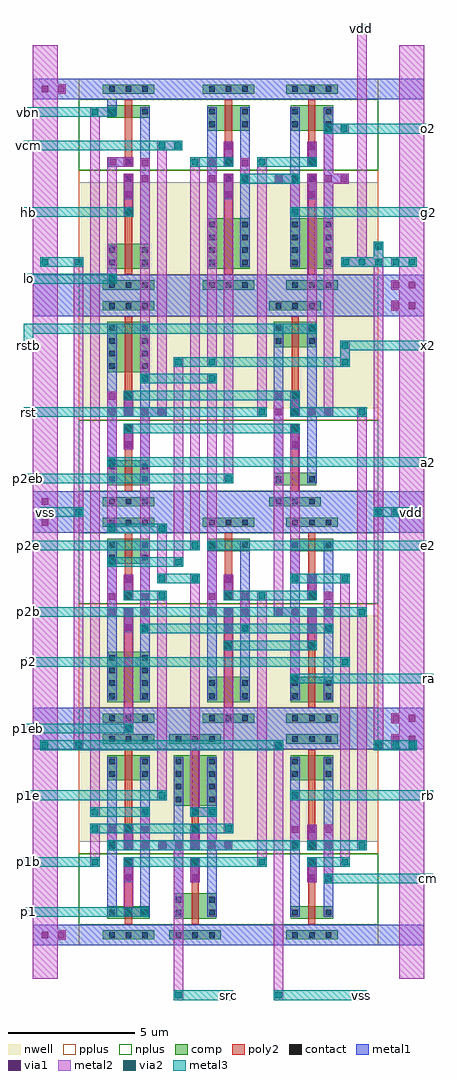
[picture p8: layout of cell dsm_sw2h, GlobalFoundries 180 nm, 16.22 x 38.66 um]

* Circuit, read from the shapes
.subckt dsm_sw2h a2 cm e2 g2 hb lo o2 p1 p1b p1e p1eb p2 p2b p2e p2eb ra rb rst rstb src vbn vcm vdd vss x2
XM1 vbn p1 rb vss nfet_03v3 w=0.5u l=0.28u
XM2 vcm p1e x2 vss nfet_03v3 w=1u l=0.28u
XM3 vcm p2 a2 vss nfet_03v3 w=1u l=0.28u
XM4 e2 lo vss vss nfet_03v3 w=0.5u l=0.28u
XM5 a2 p1 src vss nfet_03v3 w=1u l=0.28u
XM6 vcm p1 e2 vss nfet_03v3 w=0.5u l=0.28u
XM7 g2 p2e x2 vss nfet_03v3 w=1u l=0.28u
XM8 o2 p2 ra vss nfet_03v3 w=0.5u l=0.28u
XM9 cm p2 rb vss nfet_03v3 w=0.5u l=0.28u
XM10 vcm p1 ra vss nfet_03v3 w=0.5u l=0.28u
XM11 o2 rst g2 vss nfet_03v3 w=1u l=0.28u
XM12 vbn p1b rb vdd pfet_03v3 w=1u l=0.28u
XM13 vcm p1eb x2 vdd pfet_03v3 w=2u l=0.28u
XM14 vcm p2b a2 vdd pfet_03v3 w=2u l=0.28u
XM15 e2 hb vdd vdd pfet_03v3 w=1u l=0.28u
XM16 a2 p1b src vdd pfet_03v3 w=2u l=0.28u
XM17 vcm p1b e2 vdd pfet_03v3 w=1u l=0.28u
XM18 g2 p2eb x2 vdd pfet_03v3 w=2u l=0.28u
XM19 o2 p2b ra vdd pfet_03v3 w=1u l=0.28u
XM20 cm p2b rb vdd pfet_03v3 w=1u l=0.28u
XM21 vcm p1b ra vdd pfet_03v3 w=1u l=0.28u
XM22 o2 rstb g2 vdd pfet_03v3 w=2u l=0.28u
.ends

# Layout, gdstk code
import gdstk
lib = gdstk.Library(unit=1e-6, precision=1e-09)
def R(c, l, rs):  # rectangles x0, y0, x1, y1
    for r in rs: c.add(gdstk.rectangle(r[:2], r[2:], *l))
def A(c, l, x, y, w, h, nx, ny, dx, dy):  # array of equal rectangles
    R(c, l, [(x+i*dx, y+j*dy, x+i*dx+w, y+j*dy+h) for i in range(nx) for j in range(ny)])
nwell = (21, 0)
comp = (22, 0)
poly2 = (30, 0)
pplus = (31, 0)
nplus = (32, 0)
contact = (33, 0)
metal1 = (34, 0)
via1 = (35, 0)
metal2 = (36, 0)
via2 = (38, 0)
metal3 = (42, 0)

tqc_drv_0p5_1 = lib.new_cell('tqc_drv_0p5_1')
R(tqc_drv_0p5_1, nwell, [(0,4.1,2.64,8.58)])
R(tqc_drv_0p5_1, comp, [(0.3,0.23,2.34,0.59), (0.48,1.05,2.16,1.55), (0.48,6.53,2.16,7.53), (0.3,7.99,2.34,8.35)])
R(tqc_drv_0p5_1, poly2, [(1.18,0.83,1.46,3.48), (1.14,3.12,1.5,3.48), (1.14,3.78,1.5,4.14), (1.18,3.78,1.46,7.75)])
R(tqc_drv_0p5_1, pplus, [(0,0,2.64,0.82), (0,3.63,2.64,7.76)])
R(tqc_drv_0p5_1, nplus, [(0,0.82,2.64,3.63), (0,7.76,2.64,8.58)])
A(tqc_drv_0p5_1, contact, 0.55, 0.3, 0.22, 0.22, 3, 2, 0.66, 7.76)
R(tqc_drv_0p5_1, contact, [(0.55,1.19,0.77,1.41), (1.87,1.19,2.09,1.41), (1.21,3.19,1.43,3.41), (1.21,3.85,1.43,4.07), (0.55,6.67,0.77,6.89), (1.87,6.67,2.09,6.89), (0.55,7.17,0.77,7.39), (1.87,7.17,2.09,7.39)])
R(tqc_drv_0p5_1, metal1, [(0,0,2.64,0.82), (0.47,0,0.85,1.47), (1.79,1.13,2.17,1.47), (1.79,1.37,2.17,4.15), (1.13,3.11,1.51,3.49), (1.13,3.77,1.51,4.15), (1.79,3.77,2.17,6.71), (0.47,6.61,0.85,8.58), (1.79,6.61,2.17,7.45), (0,7.76,2.64,8.58)])

tqc_fill_2 = lib.new_cell('tqc_fill_2')
R(tqc_fill_2, nwell, [(0,4.1,1.32,8.58)])
R(tqc_fill_2, pplus, [(0,0,1.32,0.82), (0,3.63,1.32,7.76)])
R(tqc_fill_2, nplus, [(0,0.82,1.32,3.63), (0,7.76,1.32,8.58)])

tqc_fill_1 = lib.new_cell('tqc_fill_1')
R(tqc_fill_1, nwell, [(0,4.1,0.66,8.58)])
R(tqc_fill_1, pplus, [(0,0,0.66,0.82), (0,3.63,0.66,7.76)])
R(tqc_fill_1, nplus, [(0,0.82,0.66,3.63), (0,7.76,0.66,8.58)])

tqc_fill_6 = lib.new_cell('tqc_fill_6')
R(tqc_fill_6, nwell, [(0,4.1,3.96,8.58)])
R(tqc_fill_6, pplus, [(0,0,3.96,0.82), (0,3.63,3.96,7.76)])
R(tqc_fill_6, nplus, [(0,0.82,3.96,3.63), (0,7.76,3.96,8.58)])

tqc_tg_0p5_1 = lib.new_cell('tqc_tg_0p5_1')
R(tqc_tg_0p5_1, nwell, [(0,4.1,2.64,8.58)])
R(tqc_tg_0p5_1, comp, [(0.3,0.23,2.34,0.59), (0.48,1.05,2.16,1.55), (0.48,6.53,2.16,7.53), (0.3,7.99,2.34,8.35)])
R(tqc_tg_0p5_1, poly2, [(1.18,0.83,1.46,3.48), (1.14,3.12,1.5,3.48), (1.14,3.78,1.5,4.14), (1.18,3.78,1.46,7.75)])
R(tqc_tg_0p5_1, pplus, [(0,0,2.64,0.82), (0,3.63,2.64,7.76)])
R(tqc_tg_0p5_1, nplus, [(0,0.82,2.64,3.63), (0,7.76,2.64,8.58)])
A(tqc_tg_0p5_1, contact, 0.55, 0.3, 0.22, 0.22, 3, 2, 0.66, 7.76)
R(tqc_tg_0p5_1, contact, [(0.55,1.19,0.77,1.41), (1.87,1.19,2.09,1.41), (1.21,3.19,1.43,3.41), (1.21,3.85,1.43,4.07), (0.55,6.67,0.77,6.89), (1.87,6.67,2.09,6.89), (0.55,7.17,0.77,7.39), (1.87,7.17,2.09,7.39)])
R(tqc_tg_0p5_1, metal1, [(0,0,2.64,0.82), (0.47,1.13,0.85,1.47), (1.79,1.13,2.17,1.47), (0.47,1.37,0.85,4.15), (1.79,1.37,2.17,4.15), (1.13,3.11,1.51,3.49), (0.47,3.77,0.85,6.71), (1.13,3.77,1.51,4.15), (1.79,3.77,2.17,6.71), (0.47,6.61,0.85,7.45), (1.79,6.61,2.17,7.45), (0,7.76,2.64,8.58)])

tqc_tg_1_2 = lib.new_cell('tqc_tg_1_2')
R(tqc_tg_1_2, nwell, [(0,4.1,2.64,8.58)])
R(tqc_tg_1_2, comp, [(0.3,0.23,2.34,0.59), (0.48,1.05,2.16,2.05), (0.48,5.53,2.16,7.53), (0.3,7.99,2.34,8.35)])
R(tqc_tg_1_2, poly2, [(1.18,0.83,1.46,3.48), (1.14,3.12,1.5,3.48), (1.14,3.78,1.5,4.14), (1.18,3.78,1.46,7.75)])
R(tqc_tg_1_2, pplus, [(0,0,2.64,0.82), (0,3.63,2.64,7.76)])
R(tqc_tg_1_2, nplus, [(0,0.82,2.64,3.63), (0,7.76,2.64,8.58)])
A(tqc_tg_1_2, contact, 0.55, 0.3, 0.22, 0.22, 3, 2, 0.66, 7.76)
A(tqc_tg_1_2, contact, 0.55, 5.67, 0.22, 0.22, 1, 4, 0, 0.5)
A(tqc_tg_1_2, contact, 1.87, 5.67, 0.22, 0.22, 1, 4, 0, 0.5)
R(tqc_tg_1_2, contact, [(0.55,1.19,0.77,1.41), (1.87,1.19,2.09,1.41), (0.55,1.69,0.77,1.91), (1.87,1.69,2.09,1.91), (1.21,3.19,1.43,3.41), (1.21,3.85,1.43,4.07)])
R(tqc_tg_1_2, metal1, [(0,0,2.64,0.82), (0.47,1.13,0.85,1.97), (1.79,1.13,2.17,1.97), (0.47,1.87,0.85,4.15), (1.79,1.87,2.17,4.15), (1.13,3.11,1.51,3.49), (0.47,3.77,0.85,5.71), (1.13,3.77,1.51,4.15), (1.79,3.77,2.17,5.71), (0.47,5.61,0.85,7.45), (1.79,5.61,2.17,7.45), (0,7.76,2.64,8.58)])

tqc_fill_3 = lib.new_cell('tqc_fill_3')
R(tqc_fill_3, nwell, [(0,4.1,1.98,8.58)])
R(tqc_fill_3, pplus, [(0,0,1.98,0.82), (0,3.63,1.98,7.76)])
R(tqc_fill_3, nplus, [(0,0.82,1.98,3.63), (0,7.76,1.98,8.58)])

dsm_sw2h = lib.new_cell('dsm_sw2h')
A(dsm_sw2h, metal1, 3.11, 5.75, 0.38, 1, 3, 1, 0.66, 0)
A(dsm_sw2h, metal1, 3.11, 5.75, 0.38, 0.38, 3, 2, 0.66, 9.24)
A(dsm_sw2h, metal1, 5.75, 5.75, 0.38, 0.38, 3, 1, 0.66, 0)
A(dsm_sw2h, metal1, 10.37, 5.75, 0.38, 1, 3, 1, 0.66, 0)
A(dsm_sw2h, metal1, 10.37, 5.75, 0.38, 0.38, 3, 2, 0.66, 9.24)
A(dsm_sw2h, metal1, 7.07, 14.99, 0.38, 0.38, 3, 2, 0.66, 17.16)
A(dsm_sw2h, metal1, 3.11, 22.91, 0.38, 0.38, 3, 1, 0.66, 0)
A(dsm_sw2h, metal1, 9.71, 22.91, 0.38, 0.38, 3, 1, 0.66, 0)
A(dsm_sw2h, metal1, 10.37, 32.15, 0.38, 0.38, 3, 1, 0.66, 0)
R(dsm_sw2h, metal1, [(0.16,1.98,15.68,2.8), (0.47,2.2,1.47,2.58), (3.77,4.47,4.15,5.47), (6.41,4.47,6.79,5.47), (11.03,4.47,11.41,5.47), (3.77,5.09,4.15,5.47), (6.41,5.09,6.79,5.47), (11.03,5.09,11.41,5.47), (5.13,5.75,6.13,6.13), (6.41,5.75,6.79,6.75), (7.07,5.75,8.07,6.13), (0.16,9.74,15.68,10.56), (14.37,9.96,15.37,10.34), (0.16,10.56,15.68,11.38), (14.37,10.78,15.37,11.16), (3.77,14.37,4.15,15.37), (7.73,14.37,8.11,15.37), (11.03,14.37,11.41,15.37), (3.11,14.99,3.49,15.99), (4.43,14.99,4.81,15.99), (7.07,14.99,7.45,15.99), (8.39,14.99,8.77,15.99), (9.75,14.99,10.75,15.37), (11.69,14.99,12.07,15.99), (3.77,15.65,4.15,16.65), (3.77,15.65,4.15,16.03), (7.73,15.65,8.11,16.65), (7.73,15.65,8.11,16.03), (11.03,15.65,11.41,16.65), (11.03,15.65,11.41,16.03), (0.16,18.32,15.68,19.14), (0.16,19.14,15.68,19.96), (3.77,21.63,4.15,22.63), (10.37,21.63,10.75,22.63), (3.77,22.25,4.15,22.63), (10.37,22.25,10.75,22.63), (3.11,22.91,3.49,23.91), (3.77,22.91,4.15,23.91), (4.43,22.91,5.43,23.29), (9.71,22.91,10.09,23.91), (10.37,22.91,10.75,23.91), (11.03,22.91,12.03,23.29), (0.16,26.9,15.68,27.72), (14.37,27.12,15.37,27.5), (0.16,27.72,15.68,28.54), (14.37,27.94,15.37,28.32), (3.77,31.53,4.15,32.53), (7.73,31.53,8.11,32.53), (11.03,31.53,11.41,32.53), (3.77,32.15,4.15,32.53), (4.43,32.15,4.81,33.15), (4.43,32.15,4.81,32.53), (7.07,32.15,7.45,33.15), (8.39,32.15,8.77,33.15), (9.75,32.15,10.75,32.53), (11.69,32.15,12.69,32.53), (3.15,32.81,4.15,33.19), (3.77,32.81,4.15,33.19), (7.73,32.81,8.11,33.81), (7.73,32.81,8.11,33.19), (11.03,32.81,11.41,33.81), (11.03,32.81,11.41,33.19), (0.16,35.48,15.68,36.3), (0.47,35.7,1.47,36.08)])
A(dsm_sw2h, via1, 3.17, 5.81, 0.26, 0.26, 3, 2, 0.66, 0.62)
A(dsm_sw2h, via1, 5.81, 5.81, 0.26, 0.26, 3, 1, 0.66, 0)
A(dsm_sw2h, via1, 10.43, 5.81, 0.26, 0.26, 3, 2, 0.66, 0.62)
A(dsm_sw2h, via1, 3.17, 15.05, 0.26, 0.26, 3, 2, 0.66, 7.92)
A(dsm_sw2h, via1, 7.13, 15.05, 0.26, 0.26, 3, 2, 0.66, 17.16)
A(dsm_sw2h, via1, 10.43, 15.05, 0.26, 0.26, 3, 2, 0.66, 17.16)
A(dsm_sw2h, via1, 9.77, 22.97, 0.26, 0.26, 3, 1, 0.66, 0)
R(dsm_sw2h, via1, [(0.53,2.26,0.79,2.52), (1.15,2.26,1.41,2.52), (3.83,4.53,4.09,4.79), (6.47,4.53,6.73,4.79), (11.09,4.53,11.35,4.79), (3.83,5.15,4.09,5.41), (6.47,5.15,6.73,5.41), (11.09,5.15,11.35,5.41), (5.19,5.81,5.45,6.07), (7.75,5.81,8.01,6.07), (6.47,6.43,6.73,6.69), (14.43,10.02,14.69,10.28), (15.05,10.02,15.31,10.28), (14.43,10.84,14.69,11.1), (15.05,10.84,15.31,11.1), (3.83,14.43,4.09,14.69), (7.79,14.43,8.05,14.69), (11.09,14.43,11.35,14.69), (9.81,15.05,10.07,15.31), (3.17,15.67,3.43,15.93), (4.49,15.67,4.75,15.93), (7.13,15.67,7.39,15.93), (8.45,15.67,8.71,15.93), (11.75,15.67,12.01,15.93), (3.83,15.71,4.09,15.97), (7.79,15.71,8.05,15.97), (11.09,15.71,11.35,15.97), (3.83,16.33,4.09,16.59), (7.79,16.33,8.05,16.59), (11.09,16.33,11.35,16.59), (0.53,18.6,0.79,18.86), (0.53,19.42,0.79,19.68), (3.83,21.69,4.09,21.95), (10.43,21.69,10.69,21.95), (3.83,22.31,4.09,22.57), (10.43,22.31,10.69,22.57), (5.11,22.97,5.37,23.23), (11.71,22.97,11.97,23.23), (3.17,23.59,3.43,23.85), (3.83,23.59,4.09,23.85), (9.77,23.59,10.03,23.85), (10.43,23.59,10.69,23.85), (14.43,27.18,14.69,27.44), (15.05,27.18,15.31,27.44), (14.43,28,14.69,28.26), (15.05,28,15.31,28.26), (3.83,31.59,4.09,31.85), (7.79,31.59,8.05,31.85), (11.09,31.59,11.35,31.85), (3.83,32.21,4.09,32.47), (4.49,32.21,4.75,32.47), (9.81,32.21,10.07,32.47), (12.37,32.21,12.63,32.47), (4.49,32.83,4.75,33.09), (7.13,32.83,7.39,33.09), (8.45,32.83,8.71,33.09), (3.21,32.87,3.47,33.13), (3.83,32.87,4.09,33.13), (7.79,32.87,8.05,33.13), (11.09,32.87,11.35,33.13), (7.79,33.49,8.05,33.75), (11.09,33.49,11.35,33.75), (0.53,35.76,0.79,36.02), (1.15,35.76,1.41,36.02)])
A(dsm_sw2h, metal2, 5.75, -0.19, 0.38, 0.38, 1, 10, 0, 0.66)
A(dsm_sw2h, metal2, 5.75, -0.19, 0.38, 1.04, 1, 8, 0, 0.66)
A(dsm_sw2h, metal2, 9.71, -0.19, 0.38, 0.38, 1, 9, 0, 0.66)
A(dsm_sw2h, metal2, 9.71, -0.19, 0.38, 1.04, 1, 9, 0, 0.66)
A(dsm_sw2h, metal2, 3.77, 3.11, 0.38, 0.38, 1, 4, 0, 0.66)
A(dsm_sw2h, metal2, 3.77, 3.11, 0.38, 1.04, 1, 3, 0, 0.66)
A(dsm_sw2h, metal2, 2.45, 5.09, 0.38, 0.38, 1, 3, 0, 0.66)
A(dsm_sw2h, metal2, 2.45, 5.09, 0.38, 1.04, 3, 1, 3.3, 0)
A(dsm_sw2h, metal2, 11.03, 5.09, 0.38, 0.38, 3, 1, 0.66, 0)
A(dsm_sw2h, metal2, 12.35, 5.09, 0.38, 1.04, 1, 7, 0, 0.66)
A(dsm_sw2h, metal2, 3.11, 5.75, 0.38, 1, 3, 1, 0.66, 0)
A(dsm_sw2h, metal2, 9.05, 5.75, 0.38, 0.38, 3, 3, 0.66, 0.66)
A(dsm_sw2h, metal2, 9.05, 5.75, 0.38, 1.04, 3, 2, 0.66, 0.66)
A(dsm_sw2h, metal2, 10.37, 5.75, 0.38, 1, 3, 1, 0.66, 0)
A(dsm_sw2h, metal2, 11.69, 5.75, 0.38, 0.38, 3, 1, 0.66, 0)
A(dsm_sw2h, metal2, 13.01, 5.75, 0.38, 1.04, 1, 6, 0, 0.66)
A(dsm_sw2h, metal2, 6.41, 6.41, 0.38, 0.38, 3, 2, 0.66, 9.24)
A(dsm_sw2h, metal2, 12.35, 6.41, 0.38, 0.38, 1, 5, 0, 0.66)
A(dsm_sw2h, metal2, 13.01, 6.41, 0.38, 0.38, 1, 5, 0, 0.66)
A(dsm_sw2h, metal2, 2.45, 7.07, 0.38, 0.38, 3, 1, 1.98, 0)
A(dsm_sw2h, metal2, 2.45, 7.07, 0.38, 1.04, 1, 5, 0, 0.66)
A(dsm_sw2h, metal2, 6.41, 7.07, 0.38, 1.04, 3, 1, 1.32, 0)
A(dsm_sw2h, metal2, 9.71, 7.07, 0.38, 1.04, 1, 4, 0, 0.66)
A(dsm_sw2h, metal2, 2.45, 7.73, 0.38, 0.38, 1, 4, 0, 0.66)
A(dsm_sw2h, metal2, 5.09, 7.73, 0.38, 0.38, 4, 4, 1.32, 0.66)
A(dsm_sw2h, metal2, 5.09, 7.73, 0.38, 1.04, 4, 4, 1.32, 0.66)
A(dsm_sw2h, metal2, 9.71, 7.73, 0.38, 0.38, 1, 4, 0, 0.66)
A(dsm_sw2h, metal2, 1.79, 9.71, 0.38, 0.38, 1, 8, 0, 0.66)
A(dsm_sw2h, metal2, 1.79, 9.71, 0.38, 1.04, 1, 8, 0, 0.66)
A(dsm_sw2h, metal2, 12.35, 9.71, 0.38, 0.38, 3, 7, 0.66, 0.66)
A(dsm_sw2h, metal2, 12.35, 9.71, 0.38, 1.04, 3, 7, 0.66, 0.66)
A(dsm_sw2h, metal2, 2.45, 10.37, 0.38, 0.38, 6, 3, 1.32, 0.66)
A(dsm_sw2h, metal2, 2.45, 10.37, 0.38, 1.04, 6, 3, 1.32, 0.66)
A(dsm_sw2h, metal2, 14.37, 10.78, 1, 0.38, 1, 3, 0, 8.17)
A(dsm_sw2h, metal2, 2.45, 12.35, 0.38, 0.38, 7, 3, 1.32, 0.66)
A(dsm_sw2h, metal2, 2.45, 12.35, 0.38, 1.04, 7, 3, 1.32, 0.66)
A(dsm_sw2h, metal2, 3.77, 14.33, 0.38, 0.38, 3, 2, 0.66, 1.32)
A(dsm_sw2h, metal2, 3.77, 14.33, 0.38, 1.04, 3, 1, 0.66, 0)
A(dsm_sw2h, metal2, 6.41, 14.33, 0.38, 1.04, 1, 3, 0, 0.66)
A(dsm_sw2h, metal2, 7.73, 14.33, 0.38, 0.38, 3, 1, 0.66, 0)
A(dsm_sw2h, metal2, 7.73, 14.33, 0.38, 1.04, 3, 1, 0.66, 0)
A(dsm_sw2h, metal2, 10.37, 14.33, 0.38, 0.38, 6, 1, 0.66, 0)
A(dsm_sw2h, metal2, 10.37, 14.33, 0.38, 1.04, 6, 1, 0.66, 0)
A(dsm_sw2h, metal2, 1.79, 14.99, 0.38, 0.38, 3, 2, 0.66, 1.32)
A(dsm_sw2h, metal2, 1.79, 14.99, 0.38, 1.04, 3, 3, 0.66, 0.66)
A(dsm_sw2h, metal2, 4.43, 14.99, 0.38, 1.04, 1, 3, 0, 0.66)
A(dsm_sw2h, metal2, 8.39, 14.99, 0.38, 0.38, 4, 1, 0.66, 0)
A(dsm_sw2h, metal2, 11.69, 14.99, 0.38, 0.38, 4, 1, 0.66, 0)
A(dsm_sw2h, metal2, 12.35, 14.99, 0.38, 1.04, 3, 1, 0.66, 0)
A(dsm_sw2h, metal2, 1.79, 15.65, 0.38, 0.38, 4, 2, 0.66, 6.6)
A(dsm_sw2h, metal2, 7.07, 15.65, 0.38, 1.04, 3, 1, 2.64, 0)
A(dsm_sw2h, metal2, 9.71, 15.65, 0.38, 0.38, 1, 12, 0, 0.66)
A(dsm_sw2h, metal2, 12.35, 15.65, 0.38, 0.38, 3, 2, 0.66, 0.66)
A(dsm_sw2h, metal2, 13.01, 15.65, 0.38, 1.04, 1, 11, 0, 0.66)
A(dsm_sw2h, metal2, 13.67, 15.65, 0.38, 1.04, 1, 20, 0, 0.66)
A(dsm_sw2h, metal2, 9.71, 16.31, 0.38, 1.04, 1, 10, 0, 0.66)
A(dsm_sw2h, metal2, 10.37, 16.31, 0.38, 0.38, 1, 10, 0, 0.66)
A(dsm_sw2h, metal2, 10.37, 16.31, 0.38, 1.04, 1, 9, 0, 0.66)
A(dsm_sw2h, metal2, 1.79, 16.97, 0.38, 0.38, 3, 2, 0.66, 1.32)
A(dsm_sw2h, metal2, 4.43, 16.97, 0.38, 0.38, 3, 1, 0.66, 0)
A(dsm_sw2h, metal2, 4.43, 16.97, 0.38, 1.04, 3, 1, 0.66, 0)
A(dsm_sw2h, metal2, 13.01, 16.97, 0.38, 0.38, 1, 10, 0, 0.66)
A(dsm_sw2h, metal2, 13.67, 16.97, 0.38, 0.38, 1, 19, 0, 0.66)
A(dsm_sw2h, metal2, 4.43, 17.63, 0.38, 0.38, 5, 2, 0.66, 0.66)
A(dsm_sw2h, metal2, 4.43, 17.63, 0.38, 1.04, 5, 1, 0.66, 0)
A(dsm_sw2h, metal2, 1.79, 18.29, 0.38, 1.04, 3, 7, 0.66, 0.66)
A(dsm_sw2h, metal2, 4.43, 18.29, 0.38, 1.04, 1, 7, 0, 0.66)
A(dsm_sw2h, metal2, 5.75, 18.29, 0.38, 1.04, 3, 3, 0.66, 0.66)
A(dsm_sw2h, metal2, 1.79, 18.95, 0.38, 0.38, 3, 5, 0.66, 0.66)
A(dsm_sw2h, metal2, 4.43, 18.95, 0.38, 0.38, 1, 7, 0, 0.66)
A(dsm_sw2h, metal2, 5.75, 18.95, 0.38, 0.38, 3, 2, 0.66, 0.66)
A(dsm_sw2h, metal2, 5.75, 20.27, 0.38, 0.38, 4, 4, 0.66, 0.66)
A(dsm_sw2h, metal2, 5.75, 20.27, 0.38, 1.04, 4, 5, 0.66, 0.66)
A(dsm_sw2h, metal2, 1.79, 22.91, 0.38, 0.38, 3, 2, 0.66, 5.28)
A(dsm_sw2h, metal2, 1.79, 22.91, 0.38, 1.04, 1, 8, 0, 0.66)
A(dsm_sw2h, metal2, 2.45, 22.91, 0.38, 1.04, 3, 1, 1.32, 0)
A(dsm_sw2h, metal2, 4.43, 22.91, 0.38, 0.38, 6, 2, 0.66, 1.32)
A(dsm_sw2h, metal2, 9.05, 22.91, 0.38, 1.04, 3, 1, 1.32, 0)
A(dsm_sw2h, metal2, 1.79, 23.57, 0.38, 0.38, 1, 7, 0, 0.66)
A(dsm_sw2h, metal2, 2.45, 23.57, 0.38, 0.38, 3, 1, 1.32, 0)
A(dsm_sw2h, metal2, 2.45, 23.57, 0.38, 1.04, 1, 7, 0, 0.66)
A(dsm_sw2h, metal2, 5.09, 23.57, 0.38, 1.04, 5, 1, 0.66, 0)
A(dsm_sw2h, metal2, 5.75, 23.57, 0.38, 0.38, 4, 1, 0.66, 0)
A(dsm_sw2h, metal2, 9.05, 23.57, 0.38, 0.38, 3, 1, 1.32, 0)
A(dsm_sw2h, metal2, 9.05, 23.57, 0.38, 1.04, 1, 13, 0, 0.66)
A(dsm_sw2h, metal2, 11.69, 23.57, 0.38, 1.04, 1, 11, 0, 0.66)
A(dsm_sw2h, metal2, 2.45, 24.23, 0.38, 0.38, 1, 6, 0, 0.66)
A(dsm_sw2h, metal2, 4.43, 24.23, 0.38, 1.04, 4, 1, 0.66, 0)
A(dsm_sw2h, metal2, 9.05, 24.23, 0.38, 0.38, 1, 14, 0, 0.66)
A(dsm_sw2h, metal2, 11.69, 24.23, 0.38, 0.38, 1, 10, 0, 0.66)
A(dsm_sw2h, metal2, 4.43, 24.89, 0.38, 0.38, 6, 1, 0.66, 0)
A(dsm_sw2h, metal2, 4.43, 24.89, 0.38, 1.04, 1, 9, 0, 0.66)
A(dsm_sw2h, metal2, 5.09, 24.89, 0.38, 1.04, 1, 9, 0, 0.66)
A(dsm_sw2h, metal2, 6.41, 24.89, 0.38, 1.04, 3, 11, 0.66, 0.66)
A(dsm_sw2h, metal2, 4.43, 25.55, 0.38, 0.38, 1, 8, 0, 0.66)
A(dsm_sw2h, metal2, 5.09, 25.55, 0.38, 0.38, 1, 8, 0, 0.66)
A(dsm_sw2h, metal2, 6.41, 25.55, 0.38, 0.38, 3, 10, 0.66, 0.66)
A(dsm_sw2h, metal2, 11.03, 26.21, 0.38, 0.38, 1, 7, 0, 0.66)
A(dsm_sw2h, metal2, 11.03, 26.21, 0.38, 1.04, 1, 7, 0, 0.66)
A(dsm_sw2h, metal2, 1.79, 28.19, 0.38, 1.04, 3, 1, 0.66, 0)
A(dsm_sw2h, metal2, 1.79, 28.85, 0.38, 0.38, 3, 1, 0.66, 0)
A(dsm_sw2h, metal2, 2.45, 28.85, 0.38, 1.04, 1, 3, 0, 0.66)
A(dsm_sw2h, metal2, 3.11, 28.85, 0.38, 1.04, 1, 3, 0, 0.66)
A(dsm_sw2h, metal2, 13.01, 28.85, 0.38, 0.38, 1, 15, 0, 0.66)
A(dsm_sw2h, metal2, 13.01, 28.85, 0.38, 1.04, 1, 14, 0, 0.66)
A(dsm_sw2h, metal2, 2.45, 30.83, 0.38, 0.38, 5, 2, 0.66, 0.66)
A(dsm_sw2h, metal2, 2.45, 30.83, 0.38, 1.04, 5, 2, 0.66, 0.66)
A(dsm_sw2h, metal2, 10.37, 30.83, 0.38, 0.38, 3, 2, 0.66, 0.66)
A(dsm_sw2h, metal2, 10.37, 30.83, 0.38, 1.04, 3, 2, 0.66, 0.66)
A(dsm_sw2h, metal2, 2.45, 32.15, 0.38, 0.38, 3, 2, 0.66, 0.66)
A(dsm_sw2h, metal2, 2.45, 32.15, 0.38, 1.04, 1, 4, 0, 0.66)
A(dsm_sw2h, metal2, 6.41, 32.15, 0.38, 1.04, 3, 1, 2.64, 0)
A(dsm_sw2h, metal2, 11.69, 32.15, 0.38, 0.38, 1, 4, 0, 0.66)
A(dsm_sw2h, metal2, 3.77, 32.81, 0.38, 0.38, 4, 1, 1.32, 0)
A(dsm_sw2h, metal2, 2.45, 33.47, 0.38, 0.38, 1, 3, 0, 0.66)
R(dsm_sw2h, metal2, [(0.16,0.66,1.16,37.62), (14.68,0.66,15.68,37.62), (0.47,2.2,1.47,2.58), (3.77,3.11,4.77,3.49), (11.69,4.43,12.07,4.81), (11.69,4.43,12.07,5.47), (3.77,4.47,4.15,5.47), (6.41,4.47,6.79,5.47), (11.03,4.47,11.41,5.47), (3.77,5.09,4.15,5.47), (6.41,5.09,6.79,5.47), (6.41,5.09,6.79,5.47), (9.05,5.09,9.43,5.47), (11.03,5.09,11.41,5.47), (11.69,5.09,12.07,6.13), (2.45,5.75,2.83,6.79), (3.11,5.75,3.49,6.13), (3.11,5.75,3.49,6.13), (3.77,5.75,4.15,6.13), (3.77,5.75,4.15,6.13), (3.77,5.75,4.15,6.79), (4.43,5.75,4.81,6.13), (4.43,5.75,4.81,6.13), (4.43,5.75,4.81,6.79), (5.13,5.75,6.13,6.13), (5.75,5.75,6.13,6.13), (6.41,5.75,6.79,6.13), (6.41,5.75,6.79,6.13), (6.41,5.75,6.79,6.79), (6.41,5.75,6.79,6.75), (7.07,5.75,8.07,6.13), (7.07,5.75,7.45,6.13), (7.07,5.75,7.45,6.13), (7.07,5.75,7.45,6.79), (10.37,5.75,10.75,6.13), (11.03,5.75,11.41,6.13), (11.03,5.75,11.41,6.13), (11.69,5.75,12.07,6.13), (3.77,6.41,4.15,6.79), (4.43,6.41,4.81,6.79), (4.43,6.41,4.81,7.45), (7.07,6.41,7.45,7.45), (7.73,6.41,8.11,7.45), (6.41,7.07,7.45,7.45), (7.07,7.07,7.45,7.45), (7.73,7.07,8.11,7.45), (10.37,7.07,10.75,8.11), (10.37,7.73,10.75,8.11), (14.37,9.71,15.37,10.09), (14.37,9.96,15.37,10.34), (11.03,13.67,11.41,14.05), (11.03,13.67,11.41,14.71), (2.45,14.33,2.83,14.71), (2.45,14.33,2.83,15.37), (6.41,14.33,6.79,14.71), (3.77,14.37,4.15,15.37), (7.73,14.37,8.11,15.37), (11.03,14.37,11.41,15.37), (3.11,14.99,3.49,15.37), (3.11,14.99,3.49,15.99), (3.77,14.99,4.15,15.37), (3.77,14.99,4.15,15.37), (4.43,14.99,4.81,15.37), (4.43,14.99,4.81,15.37), (4.43,14.99,4.81,15.99), (5.09,14.99,5.47,15.37), (5.09,14.99,5.47,16.03), (6.41,14.99,6.79,15.37), (7.07,14.99,7.45,15.37), (7.07,14.99,7.45,15.37), (7.07,14.99,7.45,16.03), (7.07,14.99,7.45,15.99), (7.73,14.99,8.11,15.37), (7.73,14.99,8.11,15.37), (8.39,14.99,8.77,15.37), (8.39,14.99,8.77,15.99), (9.05,14.99,9.43,16.03), (9.71,14.99,10.75,15.37), (9.71,14.99,10.09,16.03), (9.75,14.99,10.75,15.37), (10.37,14.99,10.75,15.37), (11.03,14.99,11.41,15.37), (11.03,14.99,11.41,15.37), (11.69,14.99,12.07,15.37), (11.69,14.99,12.07,15.99), (3.77,15.65,4.15,16.65), (7.73,15.65,8.11,16.03), (7.73,15.65,8.11,16.65), (9.05,15.65,9.43,16.03), (11.03,15.65,11.41,16.03), (11.03,15.65,11.41,16.03), (11.03,15.65,11.41,16.65), (4.43,16.31,4.81,16.69), (5.09,16.31,5.47,16.69), (5.09,16.31,5.47,17.35), (6.41,16.31,6.79,16.69), (7.07,16.31,7.45,16.69), (7.07,16.31,7.45,17.35), (1.79,16.97,2.17,18.01), (2.45,16.97,2.83,18.01), (7.07,16.97,7.45,17.35), (7.07,16.97,7.45,18.01), (1.79,17.63,2.17,18.01), (1.79,17.63,2.17,18.67), (2.45,17.63,2.83,18.01), (2.45,17.63,2.83,18.67), (3.77,21.63,4.15,22.63), (10.37,21.63,10.75,22.63), (3.77,22.25,4.15,22.63), (10.37,22.25,10.75,22.63), (3.11,22.91,3.49,23.29), (3.11,22.91,3.49,23.91), (3.77,22.91,4.15,23.29), (3.77,22.91,4.15,23.29), (3.77,22.91,4.15,23.91), (4.43,22.91,5.43,23.29), (4.43,22.91,5.47,23.29), (9.05,22.91,9.43,23.29), (9.71,22.91,10.09,23.29), (9.71,22.91,10.09,23.91), (10.37,22.91,10.75,23.29), (10.37,22.91,10.75,23.29), (10.37,22.91,10.75,23.91), (11.03,22.91,12.03,23.29), (11.03,22.91,12.07,23.29), (11.03,22.91,11.41,23.29), (11.03,22.91,11.41,23.29), (11.69,22.91,12.07,23.29), (7.73,24.23,8.11,25.27), (12.35,24.89,12.73,25.27), (12.35,24.89,12.73,25.93), (12.35,25.55,12.73,25.93), (14.37,27.94,15.37,28.32), (12.39,28.85,13.39,29.23), (13.01,28.85,14.05,29.23), (13.67,28.85,14.05,29.85), (14.37,28.85,15.37,29.23), (2.45,29.51,2.83,29.89), (3.11,29.51,3.49,29.89), (2.45,30.17,2.83,30.55), (3.11,30.17,3.49,30.55), (3.77,31.53,4.15,32.53), (7.73,31.53,8.11,32.53), (11.03,31.53,11.41,32.53), (3.11,32.15,3.49,33.19), (3.77,32.15,4.15,32.53), (4.43,32.15,4.81,32.53), (4.43,32.15,4.81,32.53), (4.43,32.15,4.81,33.15), (5.09,32.15,5.47,32.53), (5.09,32.15,5.47,33.19), (6.41,32.15,6.79,32.53), (7.07,32.15,7.45,32.53), (7.07,32.15,7.45,32.53), (7.07,32.15,7.45,33.15), (7.73,32.15,8.11,32.53), (7.73,32.15,8.11,32.53), (8.39,32.15,8.77,32.53), (8.39,32.15,8.77,32.53), (8.39,32.15,8.77,33.15), (9.75,32.15,10.75,32.53), (10.37,32.15,10.75,32.53), (10.37,32.15,10.75,32.53), (11.03,32.15,11.41,32.53), (11.03,32.15,11.41,32.53), (11.69,32.15,12.69,32.53), (11.69,32.15,12.07,32.53), (3.11,32.81,4.15,33.19), (3.15,32.81,4.15,33.19), (5.09,32.81,5.47,33.85), (7.73,32.81,8.11,33.19), (7.73,32.81,8.11,33.81), (11.03,32.81,11.41,33.19), (11.03,32.81,11.41,33.19), (11.03,32.81,11.41,33.81), (11.69,32.81,12.07,33.85), (5.09,33.47,6.09,33.85), (5.09,33.47,5.47,33.85), (11.69,33.47,12.07,34.51), (11.69,34.13,12.69,34.51), (2.45,34.79,3.45,35.17), (0.47,35.7,1.47,36.08)])
A(dsm_sw2h, via2, 3.83, 5.15, 0.26, 0.26, 3, 1, 2.64, 0)
A(dsm_sw2h, via2, 2.51, 7.13, 0.26, 0.26, 3, 1, 1.98, 0)
A(dsm_sw2h, via2, 10.43, 22.31, 0.26, 0.26, 1, 3, 0, 0.66)
A(dsm_sw2h, via2, 6.47, 32.87, 0.26, 0.26, 3, 1, 1.32, 0)
R(dsm_sw2h, via2, [(5.81,-0.13,6.07,0.13), (9.77,-0.13,10.03,0.13), (3.83,3.17,4.09,3.43), (4.45,3.17,4.71,3.43), (11.75,4.49,12.01,4.75), (2.51,5.15,2.77,5.41), (11.09,5.15,11.35,5.41), (12.41,5.15,12.67,5.41), (3.17,5.81,3.43,6.07), (10.43,5.81,10.69,6.07), (11.09,5.81,11.35,6.07), (13.07,5.81,13.33,6.07), (2.51,6.47,2.77,6.73), (3.83,6.47,4.09,6.73), (6.47,6.47,6.73,6.73), (7.79,6.47,8.05,6.73), (7.13,7.13,7.39,7.39), (5.15,7.79,5.41,8.05), (10.43,7.79,10.69,8.05), (0.53,9.77,0.79,10.03), (1.85,9.77,2.11,10.03), (9.77,9.77,10.03,10.03), (13.73,9.77,13.99,10.03), (14.43,9.77,14.69,10.03), (15.05,9.77,15.31,10.03), (3.83,10.43,4.09,10.69), (10.43,12.41,10.69,12.67), (12.41,13.07,12.67,13.33), (7.79,13.73,8.05,13.99), (11.09,13.73,11.35,13.99), (4.49,14.39,4.75,14.65), (8.45,14.39,8.71,14.65), (11.75,14.39,12.01,14.65), (13.07,15.05,13.33,15.31), (3.83,15.71,4.09,15.97), (5.15,15.71,5.41,15.97), (7.79,15.71,8.05,15.97), (9.11,15.71,9.37,15.97), (11.09,15.71,11.35,15.97), (5.15,16.37,5.41,16.63), (6.47,16.37,6.73,16.63), (10.43,16.37,10.69,16.63), (12.41,16.37,12.67,16.63), (3.17,17.03,3.43,17.29), (5.81,17.03,6.07,17.29), (6.47,17.69,6.73,17.95), (7.13,17.69,7.39,17.95), (3.17,18.35,3.43,18.61), (5.15,18.35,5.41,18.61), (0.53,19.01,0.79,19.27), (1.85,19.01,2.11,19.27), (13.73,19.01,13.99,19.27), (14.43,19.01,14.69,19.27), (15.05,19.01,15.31,19.27), (7.79,20.33,8.05,20.59), (3.17,20.99,3.43,21.25), (3.83,22.31,4.09,22.57), (9.11,22.97,9.37,23.23), (13.07,22.97,13.33,23.23), (3.83,23.63,4.09,23.89), (4.49,24.29,4.75,24.55), (7.13,24.29,7.39,24.55), (5.81,24.95,6.07,25.21), (7.13,24.95,7.39,25.21), (12.41,24.95,12.67,25.21), (12.41,25.61,12.67,25.87), (11.09,26.27,11.35,26.53), (3.17,28.25,3.43,28.51), (0.53,28.91,0.79,29.17), (1.85,28.91,2.11,29.17), (12.45,28.91,12.71,29.17), (13.07,28.91,13.33,29.17), (13.73,28.91,13.99,29.17), (14.43,28.91,14.69,29.17), (15.05,28.91,15.31,29.17), (13.73,29.53,13.99,29.79), (3.83,30.89,4.09,31.15), (10.43,30.89,10.69,31.15), (8.45,32.21,8.71,32.47), (10.43,32.21,10.69,32.47), (11.09,32.87,11.35,33.13), (5.15,33.53,5.41,33.79), (5.77,33.53,6.03,33.79), (11.75,34.19,12.01,34.45), (12.37,34.19,12.63,34.45), (2.51,34.85,2.77,35.11), (3.13,34.85,3.39,35.11), (13.07,38.15,13.33,38.41)])
A(dsm_sw2h, metal3, 5.75, -0.19, 0.38, 0.38, 4, 1, 0.66, 0)
A(dsm_sw2h, metal3, 5.75, -0.19, 1.04, 0.38, 3, 1, 0.66, 0)
A(dsm_sw2h, metal3, 9.71, -0.19, 0.38, 0.38, 6, 1, 0.66, 0)
A(dsm_sw2h, metal3, 9.71, -0.19, 1.04, 0.38, 5, 1, 0.66, 0)
A(dsm_sw2h, metal3, -0.19, 3.11, 0.38, 0.38, 7, 2, 0.66, 7.26)
A(dsm_sw2h, metal3, -0.19, 3.11, 1.04, 0.38, 6, 2, 0.66, 7.26)
A(dsm_sw2h, metal3, 11.69, 4.43, 0.38, 0.38, 7, 2, 0.66, 29.7)
A(dsm_sw2h, metal3, 11.69, 4.43, 1.04, 0.38, 6, 2, 0.66, 29.7)
A(dsm_sw2h, metal3, -0.19, 5.09, 0.38, 0.38, 5, 2, 0.66, 29.7)
A(dsm_sw2h, metal3, -0.19, 5.09, 1.04, 0.38, 4, 2, 0.66, 29.7)
A(dsm_sw2h, metal3, 3.77, 5.09, 0.38, 0.38, 9, 1, 0.66, 0)
A(dsm_sw2h, metal3, 3.77, 5.09, 1.04, 0.38, 8, 1, 0.66, 0)
A(dsm_sw2h, metal3, 11.03, 5.09, 0.38, 0.38, 3, 1, 0.66, 0)
A(dsm_sw2h, metal3, 3.11, 5.75, 0.38, 0.38, 16, 1, 0.66, 0)
A(dsm_sw2h, metal3, 3.11, 5.75, 1.04, 0.38, 11, 1, 0.66, 0)
A(dsm_sw2h, metal3, 11.03, 5.75, 1.04, 0.38, 3, 1, 0.66, 0)
A(dsm_sw2h, metal3, 2.45, 6.41, 0.38, 0.38, 9, 1, 0.66, 0)
A(dsm_sw2h, metal3, 2.45, 6.41, 1.04, 0.38, 8, 1, 0.66, 0)
A(dsm_sw2h, metal3, 2.45, 7.07, 0.38, 0.38, 4, 1, 0.66, 0)
A(dsm_sw2h, metal3, 2.45, 7.07, 1.04, 0.38, 3, 1, 0.66, 0)
A(dsm_sw2h, metal3, -0.19, 7.73, 0.38, 0.38, 9, 2, 0.66, 25.74)
A(dsm_sw2h, metal3, -0.19, 7.73, 1.04, 0.38, 8, 2, 0.66, 25.74)
A(dsm_sw2h, metal3, 10.37, 7.73, 0.38, 0.38, 9, 2, 0.66, 4.62)
A(dsm_sw2h, metal3, 10.37, 7.73, 1.04, 0.38, 8, 2, 0.66, 4.62)
A(dsm_sw2h, metal3, 0.47, 9.71, 0.38, 0.38, 15, 1, 0.66, 0)
A(dsm_sw2h, metal3, 0.47, 9.71, 1.04, 0.38, 14, 1, 0.66, 0)
A(dsm_sw2h, metal3, 13.67, 9.71, 0.38, 0.38, 3, 2, 0.66, 9.24)
A(dsm_sw2h, metal3, -0.19, 13.01, 0.38, 0.38, 20, 1, 0.66, 0)
A(dsm_sw2h, metal3, -0.19, 13.01, 1.04, 0.38, 19, 1, 0.66, 0)
A(dsm_sw2h, metal3, 7.73, 13.67, 0.38, 0.38, 6, 2, 0.66, 1.98)
A(dsm_sw2h, metal3, 7.73, 13.67, 1.04, 0.38, 5, 2, 0.66, 1.98)
A(dsm_sw2h, metal3, 4.43, 14.33, 0.38, 0.38, 12, 1, 0.66, 0)
A(dsm_sw2h, metal3, 4.43, 14.33, 1.04, 0.38, 11, 1, 0.66, 0)
A(dsm_sw2h, metal3, -0.19, 14.99, 0.38, 0.38, 21, 1, 0.66, 0)
A(dsm_sw2h, metal3, -0.19, 14.99, 1.04, 0.38, 20, 1, 0.66, 0)
A(dsm_sw2h, metal3, 3.77, 15.65, 0.38, 0.38, 3, 1, 0.66, 0)
A(dsm_sw2h, metal3, 5.09, 16.31, 0.38, 0.38, 3, 1, 0.66, 0)
A(dsm_sw2h, metal3, 10.37, 16.31, 0.38, 0.38, 4, 1, 0.66, 0)
A(dsm_sw2h, metal3, 10.37, 16.31, 1.04, 0.38, 3, 1, 0.66, 0)
A(dsm_sw2h, metal3, 3.11, 16.97, 0.38, 0.38, 5, 1, 0.66, 0)
A(dsm_sw2h, metal3, 3.11, 16.97, 1.04, 0.38, 4, 1, 0.66, 0)
A(dsm_sw2h, metal3, -0.19, 17.63, 0.38, 0.38, 25, 1, 0.66, 0)
A(dsm_sw2h, metal3, -0.19, 17.63, 1.04, 0.38, 10, 1, 0.66, 0)
A(dsm_sw2h, metal3, 7.07, 17.63, 1.04, 0.38, 13, 1, 0.66, 0)
A(dsm_sw2h, metal3, 3.11, 18.29, 0.38, 0.38, 4, 1, 0.66, 0)
A(dsm_sw2h, metal3, 3.11, 18.29, 1.04, 0.38, 3, 1, 0.66, 0)
A(dsm_sw2h, metal3, 0.47, 18.95, 0.38, 0.38, 3, 2, 0.66, 9.9)
A(dsm_sw2h, metal3, -0.19, 20.27, 0.38, 0.38, 13, 1, 0.66, 0)
A(dsm_sw2h, metal3, -0.19, 20.27, 1.04, 0.38, 12, 1, 0.66, 0)
A(dsm_sw2h, metal3, 3.11, 20.93, 0.38, 0.38, 20, 1, 0.66, 0)
A(dsm_sw2h, metal3, 3.11, 20.93, 1.04, 0.38, 19, 1, 0.66, 0)
A(dsm_sw2h, metal3, 3.77, 22.25, 0.38, 0.38, 11, 2, 0.66, 1.32)
A(dsm_sw2h, metal3, 3.77, 22.25, 1.04, 0.38, 10, 2, 0.66, 1.32)
A(dsm_sw2h, metal3, -0.19, 22.91, 0.38, 0.38, 15, 1, 0.66, 0)
A(dsm_sw2h, metal3, -0.19, 22.91, 1.04, 0.38, 14, 1, 0.66, 0)
A(dsm_sw2h, metal3, 10.37, 22.91, 0.38, 0.38, 5, 1, 0.66, 0)
A(dsm_sw2h, metal3, 10.37, 22.91, 1.04, 0.38, 4, 1, 0.66, 0)
A(dsm_sw2h, metal3, 4.43, 24.23, 0.38, 0.38, 5, 1, 0.66, 0)
A(dsm_sw2h, metal3, 4.43, 24.23, 1.04, 0.38, 4, 1, 0.66, 0)
A(dsm_sw2h, metal3, 5.75, 24.89, 0.38, 0.38, 11, 1, 0.66, 0)
A(dsm_sw2h, metal3, 5.75, 24.89, 1.04, 0.38, 10, 1, 0.66, 0)
A(dsm_sw2h, metal3, 12.35, 25.55, 0.38, 0.38, 6, 1, 0.66, 0)
A(dsm_sw2h, metal3, 12.35, 25.55, 1.04, 0.38, 5, 1, 0.66, 0)
A(dsm_sw2h, metal3, -0.19, 26.21, 0.38, 0.38, 18, 1, 0.66, 0)
A(dsm_sw2h, metal3, -0.19, 26.21, 1.04, 0.38, 17, 1, 0.66, 0)
A(dsm_sw2h, metal3, -0.19, 28.19, 0.38, 0.38, 6, 1, 0.66, 0)
A(dsm_sw2h, metal3, -0.19, 28.19, 1.04, 0.38, 5, 1, 0.66, 0)
A(dsm_sw2h, metal3, 13.01, 28.85, 0.38, 0.38, 4, 1, 0.66, 0)
A(dsm_sw2h, metal3, 13.01, 28.85, 1.04, 0.38, 3, 1, 0.66, 0)
A(dsm_sw2h, metal3, -0.19, 30.83, 0.38, 0.38, 7, 1, 0.66, 0)
A(dsm_sw2h, metal3, -0.19, 30.83, 1.04, 0.38, 6, 1, 0.66, 0)
A(dsm_sw2h, metal3, 10.37, 30.83, 0.38, 0.38, 9, 1, 0.66, 0)
A(dsm_sw2h, metal3, 10.37, 30.83, 1.04, 0.38, 8, 1, 0.66, 0)
A(dsm_sw2h, metal3, 8.39, 32.15, 0.38, 0.38, 4, 1, 0.66, 0)
A(dsm_sw2h, metal3, 8.39, 32.15, 1.04, 0.38, 3, 1, 0.66, 0)
A(dsm_sw2h, metal3, 6.41, 32.81, 0.38, 0.38, 3, 1, 0.66, 0)
A(dsm_sw2h, metal3, 9.05, 32.81, 0.38, 0.38, 4, 1, 0.66, 0)
A(dsm_sw2h, metal3, 9.05, 32.81, 1.04, 0.38, 3, 1, 0.66, 0)
R(dsm_sw2h, metal3, [(3.77,3.11,4.77,3.49), (11.03,5.09,12.07,5.47), (11.69,5.09,12.73,5.47), (6.41,7.07,6.79,7.45), (6.41,7.07,7.45,7.45), (7.07,7.07,7.45,7.45), (13.67,9.71,14.71,10.09), (14.33,9.71,15.37,10.09), (14.37,9.71,15.37,10.09), (3.77,15.65,4.81,16.03), (4.43,15.65,5.47,16.03), (5.09,16.31,6.13,16.69), (5.75,16.31,6.79,16.69), (0.47,18.95,1.51,19.33), (1.13,18.95,2.17,19.33), (13.67,18.95,14.71,19.33), (14.33,18.95,15.37,19.33), (14.37,18.95,15.37,19.33), (10.37,22.91,10.75,23.95), (12.35,24.89,12.73,25.93), (-0.19,25.55,0.19,26.59), (-0.19,25.55,0.19,25.93), (0.47,28.85,1.51,29.23), (1.13,28.85,2.17,29.23), (12.39,28.85,13.39,29.23), (13.67,28.85,14.05,29.85), (14.37,28.85,15.37,29.23), (6.41,32.81,7.45,33.19), (7.07,32.81,8.11,33.19), (5.09,33.47,6.09,33.85), (11.69,34.13,12.69,34.51), (2.45,34.79,3.45,35.17), (13.01,38.09,13.39,38.47)])
dsm_sw2h.add(gdstk.Reference(tqc_drv_0p5_1, (2.64,36.3), x_reflection=True))
dsm_sw2h.add(gdstk.Reference(tqc_fill_2, (5.28,19.14), x_reflection=True))
dsm_sw2h.add(gdstk.Reference(tqc_fill_2, (12.54,19.14), x_reflection=True))
dsm_sw2h.add(gdstk.Reference(tqc_fill_2, (5.28,36.3), x_reflection=True))
dsm_sw2h.add(gdstk.Reference(tqc_fill_2, (12.54,36.3), x_reflection=True))
dsm_sw2h.add(gdstk.Reference(tqc_fill_1, (1.98,19.14), x_reflection=True))
dsm_sw2h.add(gdstk.Reference(tqc_fill_1, (9.24,19.14), x_reflection=True))
dsm_sw2h.add(gdstk.Reference(tqc_fill_1, (1.98,36.3), x_reflection=True))
dsm_sw2h.add(gdstk.Reference(tqc_fill_1, (9.24,36.3), x_reflection=True))
dsm_sw2h.add(gdstk.Reference(tqc_fill_6, (5.28,19.14)))
dsm_sw2h.add(gdstk.Reference(tqc_tg_0p5_1, (6.6,19.14), x_reflection=True))
dsm_sw2h.add(gdstk.Reference(tqc_tg_0p5_1, (9.9,19.14), x_reflection=True))
dsm_sw2h.add(gdstk.Reference(tqc_tg_1_2, (2.64,19.14), x_reflection=True))
dsm_sw2h.add(gdstk.Reference(tqc_tg_1_2, (6.6,36.3), x_reflection=True))
dsm_sw2h.add(gdstk.Reference(tqc_tg_1_2, (9.9,36.3), x_reflection=True))
dsm_sw2h.add(gdstk.Reference(tqc_fill_2, (12.54,1.98)))
dsm_sw2h.add(gdstk.Reference(tqc_fill_1, (1.98,1.98)))
dsm_sw2h.add(gdstk.Reference(tqc_fill_1, (1.98,19.14)))
dsm_sw2h.add(gdstk.Reference(tqc_fill_3, (7.92,1.98)))
dsm_sw2h.add(gdstk.Reference(tqc_fill_3, (11.88,19.14)))
dsm_sw2h.add(gdstk.Reference(tqc_tg_1_2, (5.28,1.98)))
dsm_sw2h.add(gdstk.Reference(tqc_tg_1_2, (2.64,19.14)))
dsm_sw2h.add(gdstk.Reference(tqc_tg_0p5_1, (2.64,1.98)))
dsm_sw2h.add(gdstk.Reference(tqc_tg_0p5_1, (9.9,1.98)))
dsm_sw2h.add(gdstk.Reference(tqc_tg_0p5_1, (9.24,19.14)))
dsm_sw2h.add(gdstk.Label('vdd', (15.18,19.14), layer=36, texttype=10))
dsm_sw2h.add(gdstk.Label('vss', (0.66,19.14), layer=36, texttype=10))
dsm_sw2h.add(gdstk.Label('vdd', (13.2,38.28), layer=42, texttype=10))
dsm_sw2h.add(gdstk.Label('o2', (15.84,34.32), layer=42, texttype=10))
dsm_sw2h.add(gdstk.Label('g2', (15.84,31.02), layer=42, texttype=10))
dsm_sw2h.add(gdstk.Label('a2', (15.84,21.12), layer=42, texttype=10))
dsm_sw2h.add(gdstk.Label('e2', (15.84,17.82), layer=42, texttype=10))
dsm_sw2h.add(gdstk.Label('ra', (15.84,12.54), layer=42, texttype=10))
dsm_sw2h.add(gdstk.Label('cm', (15.84,4.62), layer=42, texttype=10))
dsm_sw2h.add(gdstk.Label('src', (7.92,0), layer=42, texttype=10))
dsm_sw2h.add(gdstk.Label('vbn', (0,34.98), layer=42, texttype=10))
dsm_sw2h.add(gdstk.Label('vss', (13.2,0), layer=42, texttype=10))
dsm_sw2h.add(gdstk.Label('x2', (15.84,25.74), layer=42, texttype=10))
dsm_sw2h.add(gdstk.Label('p1', (0,3.3), layer=42, texttype=10))
dsm_sw2h.add(gdstk.Label('p1b', (0,5.28), layer=42, texttype=10))
dsm_sw2h.add(gdstk.Label('rstb', (0,25.74), layer=42, texttype=10))
dsm_sw2h.add(gdstk.Label('p1e', (0,7.92), layer=42, texttype=10))
dsm_sw2h.add(gdstk.Label('p2', (0,13.2), layer=42, texttype=10))
dsm_sw2h.add(gdstk.Label('p1eb', (0,10.56), layer=42, texttype=10))
dsm_sw2h.add(gdstk.Label('p2b', (0,15.18), layer=42, texttype=10))
dsm_sw2h.add(gdstk.Label('p2e', (0,17.82), layer=42, texttype=10))
dsm_sw2h.add(gdstk.Label('lo', (0,28.38), layer=42, texttype=10))
dsm_sw2h.add(gdstk.Label('rb', (15.84,7.92), layer=42, texttype=10))
dsm_sw2h.add(gdstk.Label('p2eb', (0,20.46), layer=42, texttype=10))
dsm_sw2h.add(gdstk.Label('rst', (0,23.1), layer=42, texttype=10))
dsm_sw2h.add(gdstk.Label('hb', (0,31.02), layer=42, texttype=10))
dsm_sw2h.add(gdstk.Label('vcm', (0,33.66), layer=42, texttype=10))

lib.write_gds('dsm_sw2h.gds')
